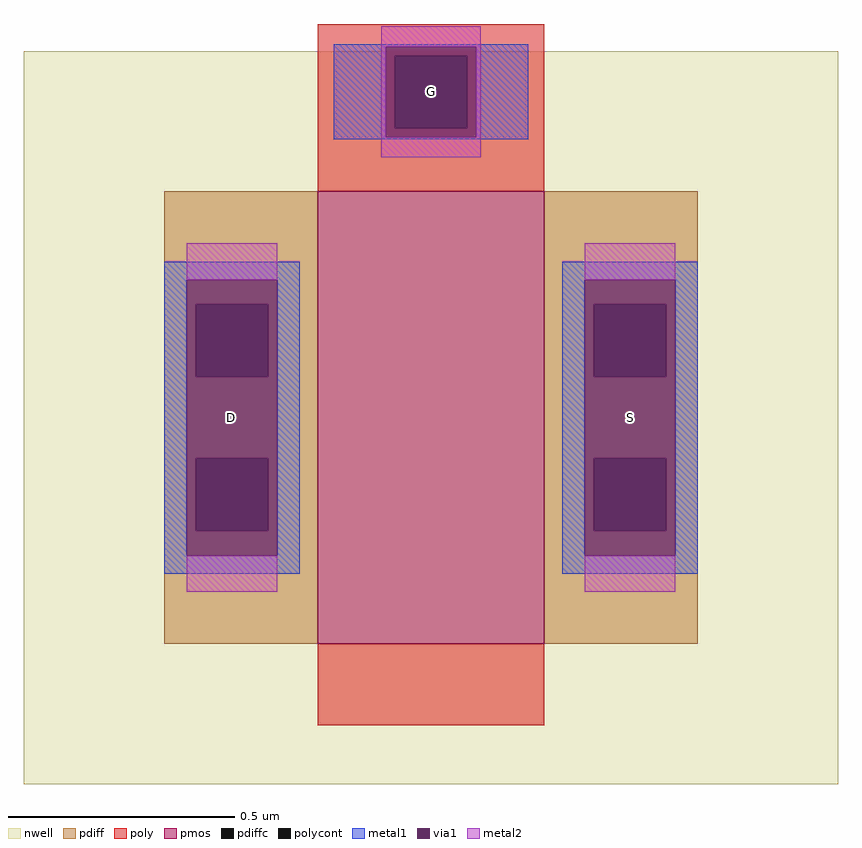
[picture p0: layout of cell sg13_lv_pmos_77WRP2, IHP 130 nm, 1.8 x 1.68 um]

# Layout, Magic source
magic
tech ihp-sg13g2
magscale 1 2
<< nwell >>
rect -180 -181 180 143
<< pmos >>
rect -50 -119 50 81
<< pdiff >>
rect -118 31 -50 81
rect -118 -1 -104 31
rect -72 -1 -50 31
rect -118 -37 -50 -1
rect -118 -69 -104 -37
rect -72 -69 -50 -37
rect -118 -119 -50 -69
rect 50 31 118 81
rect 50 -1 72 31
rect 104 -1 118 31
rect 50 -37 118 -1
rect 50 -69 72 -37
rect 104 -69 118 -37
rect 50 -119 118 -69
<< pdiffc >>
rect -104 -1 -72 31
rect -104 -69 -72 -37
rect 72 -1 104 31
rect 72 -69 104 -37
<< poly >>
rect -50 141 50 155
rect -50 109 -16 141
rect 16 109 50 141
rect -50 81 50 109
rect -50 -155 50 -119
<< polycont >>
rect -16 109 16 141
<< metal1 >>
rect -43 145 43 146
rect -43 105 -20 145
rect 20 105 43 145
rect -43 104 43 105
rect -118 42 -58 50
rect -118 -80 -108 42
rect -68 -80 -58 42
rect -118 -88 -58 -80
rect 58 42 118 50
rect 58 -80 68 42
rect 108 -80 118 42
rect 58 -88 118 -80
<< via1 >>
rect -20 141 20 145
rect -20 109 -16 141
rect -16 109 16 141
rect 16 109 20 141
rect -20 105 20 109
rect -108 31 -68 42
rect -108 -1 -104 31
rect -104 -1 -72 31
rect -72 -1 -68 31
rect -108 -37 -68 -1
rect -108 -69 -104 -37
rect -104 -69 -72 -37
rect -72 -69 -68 -37
rect -108 -80 -68 -69
rect 68 31 108 42
rect 68 -1 72 31
rect 72 -1 104 31
rect 104 -1 108 31
rect 68 -37 108 -1
rect 68 -69 72 -37
rect 72 -69 104 -37
rect 104 -69 108 -37
rect 68 -80 108 -69
<< metal2 >>
rect -22 145 22 154
rect -22 105 -20 145
rect 20 105 22 145
rect -22 96 22 105
rect -108 42 -68 58
rect -108 -96 -68 -80
rect 68 42 108 58
rect 68 -96 108 -80
<< labels >>
rlabel metal1 s -88 -19 -88 -19 4 D
rlabel metal1 s 88 -19 88 -19 4 S
rlabel metal1 s 0 125 0 125 4 G
<< end >>
